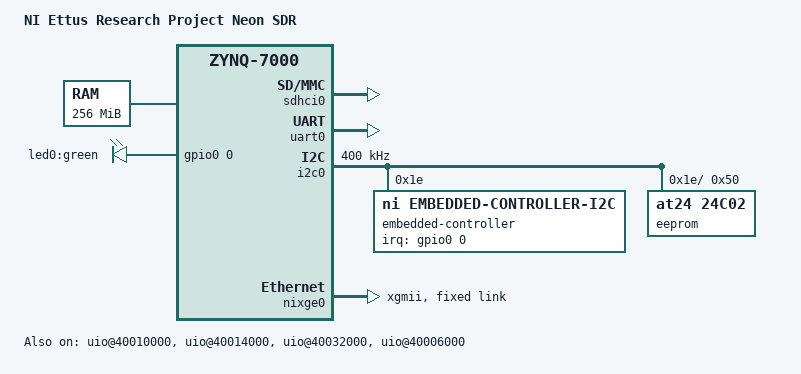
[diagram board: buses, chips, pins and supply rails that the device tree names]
// SPDX-License-Identifier: (GPL-2.0 OR X11)
/*
 * National Instruments Ettus Research Project Neon Rev1
 *
 * Copyright (c) 2018 National Instruments Corp.
 *
 */

/dts-v1/;

#include <dt-bindings/input/input.h>
#include <dt-bindings/interrupt-controller/irq.h>
#include <dt-bindings/gpio/gpio.h>
#include "zynq-7000.dtsi"

/ {
	model = "NI Ettus Research Project Neon SDR";
	compatible = "ettus,zynq-neon-rev1", "xlnx,zynq-7000";

	aliases {
		// ethernet0 = &gem0;
		serial0 = &uart0;
		spi0 = &spi0;
		i2c0 = &i2c0;
	};

	memory {
		device_type = "memory";
		reg = <0x0 0x10000000>;
	};

	chosen {
		stdout-path = "serial0:115200n8";
	};


	leds {
		compatible = "gpio-leds";
		led0 {
			label = "led0:green";
			gpios = <&gpio0 0 0>;
			linux,default-trigger = "heartbeat";
		};
	};


};

&cpu0 {
	operating-points = <1000000 1000000>;
};

&sdhci0 {
	status = "okay";
};

&uart0 {
	status = "okay";
};


&i2c0 {
	status = "okay";
	clock-frequency = <400000>;

	embedded-controller@1e {
		status = "okay";
		reg = <0x1e>;
		compatible = "ni,embedded-controller-i2c",
			     "google,cros-ec-i2c";
		interrupts = <0 IRQ_TYPE_EDGE_FALLING>;
		interrupt-parent = <&gpio0>;
		google,has-vbc-nvram;

		wakeup-source;
               thermal: thermal {
                       compatible = "google,cros-ec-thermal";
               };

		tun: i2c-tunnel {
			compatible = "google,cros-ec-i2c-tunnel";
			#address-cells = <1>;
			#size-cells = <0>;
			google,remote-bus = <0>;
			clock-frequency = <100000>;

			eeprom@50 {
				compatible = "at24,24c02";
				reg = <0x50>;
				#address-cells = <1>;
				#size-cells = <0>;
				read-only;

				eth0_addr: eth-addr@24 {
					reg = <0x24 0x6>;
				};

				eth1_addr: eth-addr@2c {
					reg = <0x2c 0x6>;
				};
			};
		};
	};
};

&gpio0 {
	status = "okay";
};

&clkc {
	ps-clk-frequency = <33333333>;
	fclk-enable = <0xf>;
};


&amba {
	ocm: sram@fffc0000 {
		compatible = "mmio-sram";
		reg = <0xfffc0000 0x10000>;
	};
};


&fpga_full {
	uio@40010000 {
		compatible = "usrp-uio";
		reg = <0x40010000 0x2000>;
		reg-names = "mboard-regs";
		status = "okay";
	};

	uio@40014000 {
		compatible = "usrp-uio";
		reg = <0x40014000 0x4000>;
		reg-names = "dboard-regs";
		status = "okay";
	};

	// nixge_internal: ethernet@40020000 {
	// 	#address-cells = <1>;
	// 	#size-cells = <1>;
	// 	compatible = "ni,xge-enet-3.00";
	// 	reg = <0x40020000 0x4000
	// 	       0x40030000 0x2000>;
	// 	reg-names = "dma", "ctrl";
	// 		clocks = <&clkc 15>;
	// 		clock-names = "bus_clk";

	// 	interrupts = <0 31 4>, <0 32 4>;
	// 	interrupt-names = "rx", "tx";
	// 	interrupt-parent = <&intc>;
	// 	status = "okay";

	// 	phy-mode = "internal";
	// 	local-mac-address = <0x00 0x01 0x02 0x03 0x04 0x05>;

	// 	fixed-link {
	// 		speed = <1000>;
	// 		full-duplex;
	// 	};
	// };

	uio@40032000 {
		compatible = "usrp-uio";
		reg = <0x40032000 0x2000>;
		reg-names = "misc-enet-int-regs";
		status = "okay";
	};

	// nixge0: ethernet@40000000 {
	// 	compatible = "ni,xge-enet-2.00";
	// 	reg = <0x40000000 0x6000>;

	// 	clocks = <&clkc 15>;
	// 	clock-names = "bus_clk";

	// 	nvmem-cells = <&eth1_addr>;
	// 	nvmem-cell-names = "address";

	// 	interrupts = <0 29 4>, <0 30 4>;
	// 	interrupt-names = "rx", "tx";
	// 	interrupt-parent = <&intc>;
	// 	status = "okay";

	// 	phy-mode = "xgmii";

	// 	fixed-link {
	// 		speed = <1000>;
	// 		full-duplex;
	// 		/* 114 = 54 (MIOs) + 60 (EMIO 60) */
	// 		// link-gpios = <&gpio0 114 0>;
	// 	};
	// };

	// uio@40006000 {
	// 	compatible = "usrp-uio";
	// 	reg = <0x40006000 0x2000>; // FIXME: Addresses
	// 	reg-names = "misc-enet-regs";
	// 	status = "okay";
	// };


	nixge0: ethernet@40000000 {
		compatible = "ni,xge-enet-2.00";
		reg = <0x40000000 0x6000>; //FIXME

		clocks = <&clkc 15>;
		clock-names = "bus_clk";

		nvmem-cells = <&eth1_addr>;
		nvmem-cell-names = "address";

		interrupts = <0 29 4>, <0 30 4>;
		interrupt-names = "rx", "tx";
		interrupt-parent = <&intc>;
		status = "okay";

		phy-mode = "xgmii";
		// phy-handle = <&ethernet_phy1>;

		// mdio {
		// 	#address-cells = <1>;
		// 	#size-cells = <0>;
		// 	ethernet_phy1: ethernet-phy@0 {
		// 		compatible = "marvell,88E1510", "ethernet-phy-ieee802.3-c22";
		// 		device_type = "ethernet-phy";
		// 		reg = <0>;
		// 	};
		// };
		fixed-link {
			speed = <1000>;
			full-duplex;
			/* 114 = 54 (MIOs) + 60 (EMIO 60) */
			link-gpios = <&gpio0 114 0>;
		};
	};

	uio@40006000 {
		compatible = "usrp-uio";
		reg = <0x40006000 0x2000>; //FIXME
		reg-names = "misc-enet-regs";
		status = "okay";
	};
};
